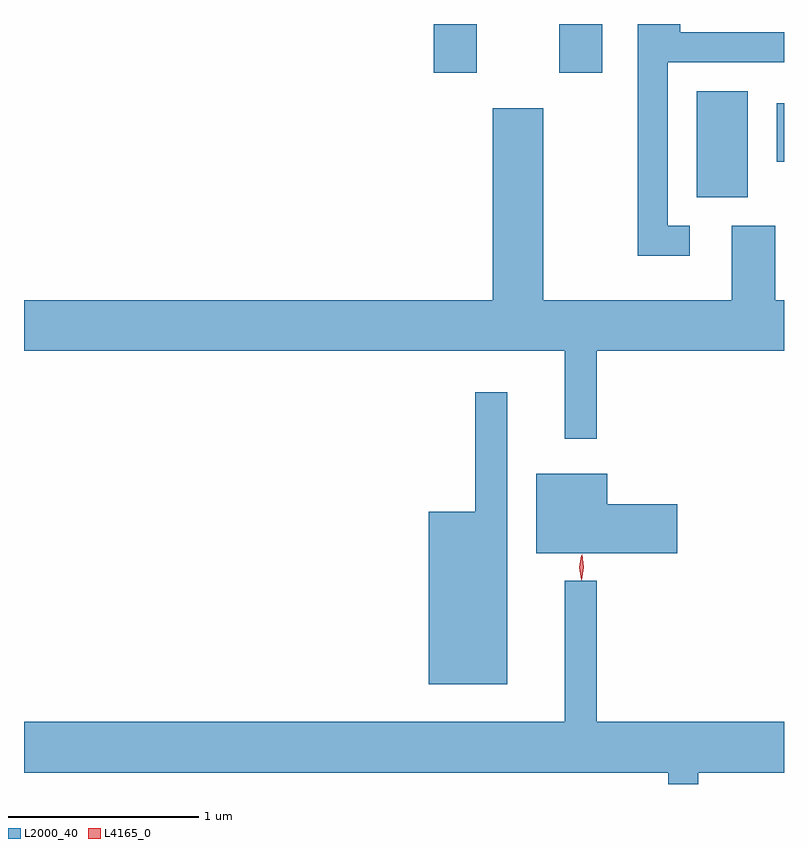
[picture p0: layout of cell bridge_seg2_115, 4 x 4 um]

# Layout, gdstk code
import gdstk
lib = gdstk.Library(unit=1e-6, precision=1e-09)
def R(c, l, rs):  # rectangles x0, y0, x1, y1
    for r in rs: c.add(gdstk.rectangle(r[:2], r[2:], *l))
def P(c, l, *ps):  # polygons
    for p in ps: c.add(gdstk.Polygon(p, *l))
L2000_40 = (2000, 40)
L4165_0 = (4165, 0)

bridge_seg2_115 = lib.new_cell('bridge_seg2_115')
R(bridge_seg2_115, L2000_40, [(923.036,1051.346,923.304,1051.904), (923.456,1051.531,923.495,1051.839), (921.651,1052.001,921.879,1052.257), (922.311,1052.001,922.539,1052.257)])
P(bridge_seg2_115, L2000_40, [(922.998,1051.194),(922.884,1051.194),(922.884,1052.056),(923.495,1052.056),(923.495,1052.214),(922.949,1052.214),(922.949,1052.257),(922.726,1052.257),(922.726,1051.036),(922.998,1051.036)],
  [(922.509,1050.536),(923.495,1050.536),(923.495,1050.804),(923.449,1050.804),(923.449,1051.194),(923.221,1051.194),(923.221,1050.804),(922.229,1050.804),(922.229,1051.814),(921.961,1051.814),(921.961,1050.804),(919.495,1050.804),(919.495,1050.536),(922.341,1050.536),(922.341,1050.073),(922.509,1050.073)],
  [(922.039,1050.318),(921.871,1050.318),(921.871,1049.689),(921.626,1049.689),(921.626,1048.781),(922.039,1048.781)],
  [(922.934,1049.729),(922.564,1049.729),(922.564,1049.889),(922.191,1049.889),(922.191,1049.471),(922.934,1049.471)],
  [(922.509,1049.328),(922.341,1049.328),(922.341,1048.584),(919.495,1048.584),(919.495,1048.316),(922.886,1048.316),(922.886,1048.257),(923.044,1048.257),(923.044,1048.316),(923.495,1048.316),(923.495,1048.584),(922.509,1048.584)])
P(bridge_seg2_115, L4165_0, [(922.43,1049.33),(922.43,1049.33),(922.421,1049.398),(922.432,1049.466),(922.432,1049.466),(922.433,1049.466),(922.441,1049.398),(922.431,1049.33)],
  [(922.427,1049.333),(922.418,1049.396),(922.427,1049.46),(922.428,1049.46),(922.428,1049.46),(922.438,1049.396),(922.428,1049.333),(922.428,1049.333)])

lib.write_gds('bridge_seg2_115.gds')
